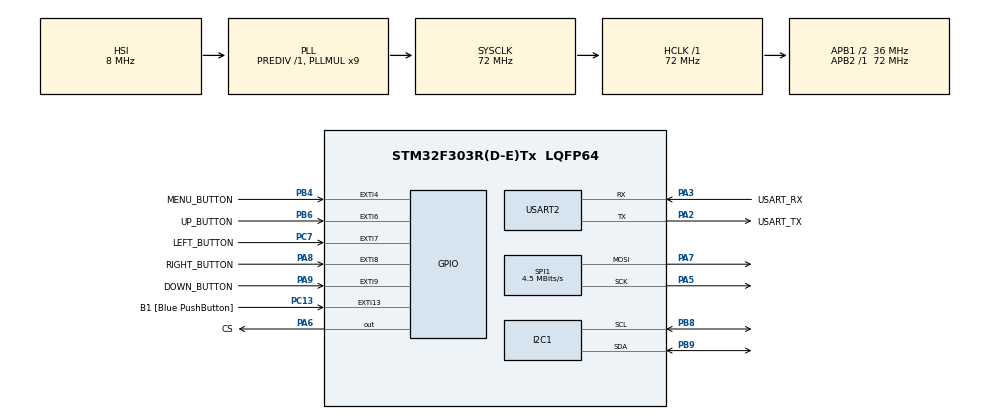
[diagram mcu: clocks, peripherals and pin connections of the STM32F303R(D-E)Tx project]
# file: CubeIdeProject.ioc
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Mcu.Family=STM32F3
Mcu.Name=STM32F303R(D-E)Tx
Mcu.Package=LQFP64
NVIC.EXTI4_IRQn=true\:0\:0\:false\:false\:true\:true\:true\:true
NVIC.EXTI9_5_IRQn=true\:0\:0\:false\:false\:true\:true\:true\:true
NVIC.PriorityGroup=NVIC_PRIORITYGROUP_0
NVIC.TIM1_TRG_COM_TIM17_IRQn=true\:0\:0\:false\:false\:true\:true\:true\:true
NVIC.TIM1_UP_TIM16_IRQn=true\:0\:0\:false\:false\:true\:true\:true\:true
PA13.GPIO_Label=TMS
PA13.Mode=Serial_Wire
PA13.Signal=SYS_JTMS-SWDIO
PA14.GPIO_Label=TCK
PA14.Mode=Serial_Wire
PA14.Signal=SYS_JTCK-SWCLK
PA2.GPIO_Label=USART_TX
PA2.GPIO_Mode=GPIO_MODE_AF_PP
PA2.GPIO_PuPd=GPIO_NOPULL
PA2.GPIO_Speed=GPIO_SPEED_FREQ_LOW
PA2.Mode=Asynchronous
PA2.Signal=USART2_TX
PA3.GPIO_Label=USART_RX
PA3.GPIO_Mode=GPIO_MODE_AF_PP
PA3.GPIO_PuPd=GPIO_NOPULL
PA3.GPIO_Speed=GPIO_SPEED_FREQ_LOW
PA3.Mode=Asynchronous
PA3.Signal=USART2_RX
PA5.Mode=TX_Only_Simplex_Unidirect_Master
PA5.Signal=SPI1_SCK
PA6.GPIO_Label=CS
PA6.Signal=GPIO_Output
PA7.Mode=TX_Only_Simplex_Unidirect_Master
PA7.Signal=SPI1_MOSI
PA8.GPIO_Label=RIGHT_BUTTON
PA8.GPIO_ModeDefaultEXTI=GPIO_MODE_IT_FALLING
PA8.GPIO_PuPd=GPIO_PULLUP
PA8.Signal=GPXTI8
PA9.GPIO_Label=DOWN_BUTTON
PA9.GPIO_ModeDefaultEXTI=GPIO_MODE_IT_FALLING
PA9.GPIO_PuPd=GPIO_PULLUP
PA9.Signal=GPXTI9
PB3.GPIO_Label=SWO
PB3.Signal=SYS_JTDO-TRACESWO
PB4.GPIO_Label=MENU_BUTTON
PB4.GPIO_ModeDefaultEXTI=GPIO_MODE_IT_FALLING
PB4.GPIO_PuPd=GPIO_PULLUP
PB4.Signal=GPXTI4
PB5.Signal=SPI3_MOSI
PB6.GPIO_Label=UP_BUTTON
PB6.GPIO_ModeDefaultEXTI=GPIO_MODE_IT_FALLING
PB6.GPIO_PuPd=GPIO_PULLUP
PB6.Signal=GPXTI6
PB8.Mode=I2C
PB8.Signal=I2C1_SCL
PB9.Mode=I2C
PB9.Signal=I2C1_SDA
PC13.GPIO_Label=B1 [Blue PushButton]
PC13.GPIO_ModeDefaultEXTI=GPIO_MODE_IT_FALLING
PC13.Signal=GPXTI13
PC14-OSC32_IN.Mode=LSE-External-Oscillator
PC14-OSC32_IN.Signal=RCC_OSC32_IN
PC15-OSC32_OUT.Mode=LSE-External-Oscillator
PC15-OSC32_OUT.Signal=RCC_OSC32_OUT
PC7.GPIO_Label=LEFT_BUTTON
PC7.GPIO_ModeDefaultEXTI=GPIO_MODE_IT_FALLING
PC7.GPIO_PuPd=GPIO_PULLUP
PC7.Signal=GPXTI7
PF0-OSC_IN.Mode=HSE-External-Oscillator
PF0-OSC_IN.Signal=RCC_OSC_IN
PF1-OSC_OUT.Mode=HSE-External-Oscillator
PF1-OSC_OUT.Signal=RCC_OSC_OUT
ProjectManager.HeapSize=0x200
ProjectManager.StackSize=0x400
ProjectManager.TargetToolchain=STM32CubeIDE
RCC.AHBFreq_Value=72000000
RCC.APB1CLKDivider=RCC_HCLK_DIV2
RCC.APB1Freq_Value=36000000
RCC.APB1TimFreq_Value=72000000
RCC.APB2Freq_Value=72000000
RCC.APB2TimFreq_Value=72000000
RCC.CortexFreq_Value=72000000
RCC.HCLKFreq_Value=72000000
RCC.HSE_VALUE=8000000
RCC.HSI_VALUE=8000000
RCC.PLLM=8
RCC.PLLMUL=RCC_PLL_MUL9
RCC.PLLN=336
RCC.PLLP=RCC_PLLP_DIV4
RCC.PLLQ=7
RCC.RCC_PLLsource_Clock_Source_FROM_HSE=RCC_HSE_PREDIV_DIV2
RCC.SYSCLKFreq_VALUE=72000000
RCC.SYSCLKSourceVirtual=RCC_SYSCLKSOURCE_PLLCLK
RCC.USBFreq_Value=72000000
SPI1.BaudRatePrescaler=SPI_BAUDRATEPRESCALER_16
SPI1.CalculateBaudRate=4.5 MBits/s
SPI1.DataSize=SPI_DATASIZE_8BIT
SPI1.Direction=SPI_DIRECTION_2LINES
SPI1.FirstBit=SPI_FIRSTBIT_MSB
SPI1.Mode=SPI_MODE_MASTER
SPI1.VirtualType=VM_MASTER
TIM16.Period=10000-1
TIM16.Prescaler=71
TIM17.Period=10000
TIM17.Prescaler=71
USART2.VirtualMode-Asynchronous=VM_ASYNC
VP_TIM16_VS_ClockSourceINT.Mode=Enable_Timer
VP_TIM17_VS_ClockSourceINT.Mode=Enable_Timer
board=NUCLEO-F303RE

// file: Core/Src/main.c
/* USER CODE BEGIN Header */
/**
  ******************************************************************************
  * @file           : main.c
  * @brief          : Main program body
  ******************************************************************************
  * @attention
  *
  * Copyright (c) 2023 STMicroelectronics.
  * All rights reserved.
  *
  * This software is licensed under terms that can be found in the LICENSE file
  * in the root directory of this software component.
  * If no LICENSE file comes with this software, it is provided AS-IS.
  *
  ******************************************************************************
  */
/* USER CODE END Header */
#include "main.h"

I2C_HandleTypeDef hi2c1;

SPI_HandleTypeDef hspi1;

TIM_HandleTypeDef htim16;
TIM_HandleTypeDef htim17;

UART_HandleTypeDef huart2;

/* USER CODE BEGIN PV */
bool menu_button_edge_falling = false;
bool up_button_edge_falling = false;
bool down_button_edge_falling = false;
bool left_button_edge_falling = false;
bool right_button_edge_falling = false;
Vector2D player_input_dpad = {0, 0};
Vector2D player_input_accelerometr = {0, 0};

bool in_menu = true;
bool new_game = true;
MenuScreen menu_screen = Snake;
GameName game_name = Snake;
ControlMethod control_method = Dpad;
int difficulty = 1;
int screen_brightness = 1;
/* USER CODE END PV */

void SystemClock_Config(void);
static void MX_GPIO_Init(void);
static void MX_USART2_UART_Init(void);
static void MX_I2C1_Init(void);
static void MX_SPI1_Init(void);
static void MX_TIM16_Init(void);
static void MX_TIM17_Init(void);

/* USER CODE BEGIN 0 */

void set_screens_register(uint8_t addr, uint8_t data){
	HAL_GPIO_WritePin(GPIOA, CS_Pin, GPIO_PIN_RESET);
	for(int i = 0; i < 4; i++){
		HAL_SPI_Transmit(&hspi1, &addr, 1, HAL_MAX_DELAY);
		HAL_SPI_Transmit(&hspi1, &data, 1, HAL_MAX_DELAY);
	}
	HAL_GPIO_WritePin(GPIOA, CS_Pin, GPIO_PIN_SET);
}

void setup_screen(){
	uint8_t REG_DECODE_MODE = 0x0B;
	uint8_t REG_SCAN_LIMIT = 0x0B;
	uint8_t REG_SHUTDOWN = 0x0C;
	uint8_t REG_DISP_TEST  = 0x0F;

	set_screens_register(REG_SHUTDOWN, 0x01);
	set_screens_register(REG_SCAN_LIMIT, 0x07);
	set_screens_register(REG_DECODE_MODE, 0xFF);
	set_screen_brightness(screen_brightness);

	for(int i = 1; i <= 8; i++){
		set_screens_register(i, 0x00);
	}

	//set_screens_register(REG_DISP_TEST, 0x01);
	//HAL_Delay(100);
	//set_screens_register(REG_DISP_TEST, 0x00);
}

void set_screen_brightness(unsigned brightness){
	uint8_t REG_INTENSITY = 0x0A;
	if(brightness < 16){
		set_screens_register(REG_INTENSITY, brightness-1);
	}
}

void draw_frame(uint16_t * array) {
	uint8_t* array_8_t = ((uint8_t *)array);

	for(int i = 0; i < 8; i++){
		HAL_GPIO_WritePin(GPIOA, CS_Pin, GPIO_PIN_RESET);
		uint8_t num = i + 1;

		HAL_SPI_Transmit(&hspi1, &num, 1, HAL_MAX_DELAY);
		HAL_SPI_Transmit(&hspi1, &array_8_t[2*i+1], 1, HAL_MAX_DELAY);

		HAL_SPI_Transmit(&hspi1, &num, 1, HAL_MAX_DELAY);
		HAL_SPI_Transmit(&hspi1, &array_8_t[2*i], 1, HAL_MAX_DELAY);

		HAL_SPI_Transmit(&hspi1, &num, 1, HAL_MAX_DELAY);
		HAL_SPI_Transmit(&hspi1, &array_8_t[16 + 2*i+1], 1, HAL_MAX_DELAY);

		HAL_SPI_Transmit(&hspi1, &num, 1, HAL_MAX_DELAY);
		HAL_SPI_Transmit(&hspi1, &array_8_t[16 + 2*i], 1, HAL_MAX_DELAY);

		HAL_GPIO_WritePin(GPIOA, CS_Pin, GPIO_PIN_SET);
	}

}

void setup_accelerometr() {
	uint8_t val_power_ctl = 0b00001000;//turn on
	uint8_t val_data_format = 0b00000000;// +-2g

	uint8_t chipid=0;
	HAL_I2C_Mem_Read(&hi2c1, ADXL345_ADDR, 0x00, 1, &chipid, 1, 100);

	HAL_I2C_Mem_Write(&hi2c1, ADXL345_ADDR, REG_POWER_CTL, 1, &val_power_ctl, sizeof(val_power_ctl), HAL_MAX_DELAY);
	HAL_I2C_Mem_Write(&hi2c1, ADXL345_ADDR, REG_DATA_FORMAT, 1, &val_data_format, sizeof(val_data_format), HAL_MAX_DELAY);
}

void adxl_read_values (uint8_t reg, uint8_t* data_rec)
{
   HAL_I2C_Mem_Read (&hi2c1, ADXL345_ADDR, reg, 1, (uint8_t *)data_rec, 6, 100);
}

Vector2D get_accelerometr_input(){
	uint8_t data_rec[6];
	adxl_read_values(0x32, data_rec);
	int16_t x,y,z;
	x = ((data_rec[1]<<8)|data_rec[0]);
	y = ((data_rec[3]<<8)|data_rec[2]);
	z = ((data_rec[5]<<8)|data_rec[4]);
	float xg, yg, zg;
	xg = x * 0.003914;
	yg = y * 0.003914;
	zg = z * 0.003914;

	Vector2D vector = {-xg, yg};
	return vector;
}

void HAL_GPIO_EXTI_Callback(uint16_t GPIO_Pin)
{
	unsigned timer_val = __HAL_TIM_GET_COUNTER(&htim16);
	static bool seeded = false;
	if(!seeded && (GPIO_Pin == UP_BUTTON_Pin || GPIO_Pin == DOWN_BUTTON_Pin || GPIO_Pin == MENU_BUTTON_Pin)){
		srand(timer_val);
		seeded = true;
	}

	switch(GPIO_Pin){
	case MENU_BUTTON_Pin:
		menu_button_edge_falling = true;
		break;
	case UP_BUTTON_Pin:
		up_button_edge_falling = true;
		break;
	case DOWN_BUTTON_Pin:
		down_button_edge_falling = true;
		break;
	case LEFT_BUTTON_Pin:
		left_button_edge_falling = true;
		break;
	case RIGHT_BUTTON_Pin:
		right_button_edge_falling = true;
		break;
	}
}

bool debounce_button(GPIO_TypeDef *port, uint16_t pin, bool *edge_var, int* counter){
	if(*edge_var){
		if(HAL_GPIO_ReadPin(port, pin) == GPIO_PIN_SET){
			*edge_var = false;
			return false;
		}
		if(*counter > 5){
			*counter = 0;
			*edge_var = false;
			return true;
		}
		(*counter)++;
	}
	return false;
}

void check_buttons(){
	static int menu_button_stable_counter = 0;
	static int up_button_stable_counter = 0;
	static int down_button_stable_counter = 0;
	static int left_button_stable_counter = 0;
	static int right_button_stable_counter = 0;

	if(debounce_button(GPIOB, MENU_BUTTON_Pin, &menu_button_edge_falling, &menu_button_stable_counter)){
		in_menu = true;
		switch(menu_screen){
		case SnakeMenu:
			draw_frame(get_snake_menu_screen());
			break;
		case TetrisMenu:
			draw_frame(get_tetris_menu_screen());
			break;
		case SpaceMenu:
			draw_frame(get_space_menu_screen());
			break;
		case Brightness:
			draw_frame(get_brightness_menu_screen(screen_brightness));
			break;
		case Difficulty:
			draw_frame(get_difficulty_menu_screen(difficulty));
			break;
		case ControlMethodMenu:
			draw_frame(get_control_method_menu_screen(control_method));
			break;
		}
	}
	if(debounce_button(GPIOB, UP_BUTTON_Pin, &up_button_edge_falling, &up_button_stable_counter)){
		player_input_dpad.x = 0;
		player_input_dpad.y = 1;
		if(in_menu){
			switch(menu_screen){
			case SnakeMenu:
				in_menu = false;
				game_name = Snake;
				new_game = true;
				player_input_dpad.x = 0;
				player_input_dpad.y = 0;
				break;
			case TetrisMenu:
				in_menu = false;
				game_name = Tetris;
				new_game = true;
				player_input_dpad.x = 0;
				player_input_dpad.y = 0;
				break;
			case SpaceMenu:
				in_menu = false;
				game_name = Space;
				new_game = true;
				player_input_dpad.x = 0;
				player_input_dpad.y = 0;
				break;
			case Brightness:
				if(screen_brightness < 16) screen_brightness++;
				draw_frame(get_brightness_menu_screen(screen_brightness));
				set_screen_brightness(screen_brightness);
				break;
			case Difficulty:
				if(difficulty < 16) difficulty++;
				draw_frame(get_difficulty_menu_screen(difficulty));
				break;
			case ControlMethodMenu:
				control_method = Dpad;
				draw_frame(get_control_method_menu_screen(control_method));
				break;
			}
		}
	}
	if(debounce_button(GPIOA, DOWN_BUTTON_Pin, &down_button_edge_falling, &down_button_stable_counter)){
		player_input_dpad.x = 0;
		player_input_dpad.y = -1;
		if(in_menu){
			switch(menu_screen){
			case SnakeMenu:
				in_menu = false;
				game_name = Snake;
				new_game = true;
				player_input_dpad.x = 0;
				player_input_dpad.y = 0;
				break;
			case TetrisMenu:
				in_menu = false;
				game_name = Tetris;
				new_game = true;
				player_input_dpad.x = 0;
				player_input_dpad.y = 0;
				break;
			case SpaceMenu:
				in_menu = false;
				game_name = Space;
				new_game = true;
				player_input_dpad.x = 0;
				player_input_dpad.y = 0;
				break;
			case Brightness:
				if(screen_brightness > 1) screen_brightness--;
				draw_frame(get_brightness_menu_screen(screen_brightness));
				set_screen_brightness(screen_brightness);
				break;
			case Difficulty:
				if(difficulty > 1) difficulty--;
				draw_frame(get_difficulty_menu_screen(difficulty));
				break;
			case ControlMethodMenu:
				control_method = Accelerometer;
				draw_frame(get_control_method_menu_screen(control_method));
				break;
			}
		}
	}
	if(debounce_button(GPIOC, LEFT_BUTTON_Pin, &left_button_edge_falling, &left_button_stable_counter)){
		player_input_dpad.x = -1;
		player_input_dpad.y = 0;
		if(in_menu){
			switch(menu_screen){
			case SnakeMenu:
				menu_screen = Brightness;
				draw_frame(get_brightness_menu_screen(screen_brightness));
				break;
			case TetrisMenu:
				menu_screen = SnakeMenu;
				draw_frame(get_snake_menu_screen());
				break;
			case SpaceMenu:
				menu_screen = TetrisMenu;
				draw_frame(get_tetris_menu_screen());
				break;
			case ControlMethodMenu:
				menu_screen = SpaceMenu;
				draw_frame(get_space_menu_screen());
				break;
			case Difficulty:
				menu_screen = ControlMethodMenu;
				draw_frame(get_control_method_menu_screen(control_method));
				break;
			case Brightness:
				menu_screen = Difficulty;
				draw_frame(get_difficulty_menu_screen(difficulty));
				break;
			}
		}
	}
	if(debounce_button(GPIOA, RIGHT_BUTTON_Pin, &right_button_edge_falling, &right_button_stable_counter)){
		player_input_dpad.x = 1;
		player_input_dpad.y = 0;
		if(in_menu){
			switch(menu_screen){
			case SnakeMenu:
				menu_screen = TetrisMenu;
				draw_frame(get_tetris_menu_screen());
				break;
			case TetrisMenu:
				menu_screen = SpaceMenu;
				draw_frame(get_space_menu_screen(control_method));
				break;
			case SpaceMenu:
				menu_screen = ControlMethodMenu;
				draw_frame(get_control_method_menu_screen(control_method));
				break;
			case ControlMethodMenu:
				menu_screen = Difficulty;
				draw_frame(get_difficulty_menu_screen(difficulty));
				break;
			case Difficulty:
				menu_screen = Brightness;
				draw_frame(get_brightness_menu_screen(screen_brightness));
				break;
			case Brightness:
				menu_screen = SnakeMenu;
				draw_frame(get_snake_menu_screen());
				break;
			}
		}
	}
}

void play_game_timer_it(){
	static int counter = 0;
	if(!in_menu){
		int divider = 2*(16 - difficulty);
			if(counter < divider){
				counter++;
			}else{
				counter = 0;
				Vector2D player_input;
				Vector2D player_input_accelerometer = get_accelerometr_input();
				if(control_method == Dpad){
					player_input = player_input_dpad;
				}else{
					player_input = player_input_accelerometer;
				}

				uint16_t* frame;
				switch(game_name){
				case Snake:
					frame = snake_get_frame(player_input, control_method, new_game);
					break;
				case Tetris:
					frame = tetris_get_frame(player_input_dpad, player_input_accelerometer, control_method, new_game);
					break;
				case Space:
					frame = space_get_frame(player_input, control_method, new_game);
					break;
				}
				new_game = false;
				player_input_dpad.x = 0;
				player_input_dpad.y = 0;
				draw_frame(frame);
			}
	}
}

void HAL_TIM_PeriodElapsedCallback(TIM_HandleTypeDef *htim)
{
  if (htim == &htim16 && !in_menu)
  {
	  play_game_timer_it();
  }
  if (htim == &htim17 ){
	  check_buttons();
  }
}

/* USER CODE END 0 */

int main(void)
{

  /* MCU Configuration--------------------------------------------------------*/

  /* Reset of all peripherals, Initializes the Flash interface and the Systick. */
  HAL_Init();

  /* Configure the system clock */
  SystemClock_Config();

  /* Initialize all configured peripherals */
  MX_GPIO_Init();
  MX_USART2_UART_Init();
  MX_I2C1_Init();
  MX_SPI1_Init();
  MX_TIM16_Init();
  MX_TIM17_Init();
  /* USER CODE BEGIN 2 */
  setup_screen();
  setup_accelerometr();
  HAL_TIM_Base_Start_IT(&htim16);
  HAL_TIM_Base_Start_IT(&htim17);
  draw_frame(get_snake_menu_screen());

  /* USER CODE END 2 */

  /* Infinite loop */
  while (1)
  {

    /* USER CODE BEGIN 3 */
	  HAL_Delay (1000);
  }
  /* USER CODE END 3 */
}

void SystemClock_Config(void)
{
  RCC_OscInitTypeDef RCC_OscInitStruct = {0};
  RCC_ClkInitTypeDef RCC_ClkInitStruct = {0};
  RCC_PeriphCLKInitTypeDef PeriphClkInit = {0};

  /** Initializes the RCC Oscillators according to the specified parameters
  * in the RCC_OscInitTypeDef structure.
  */
  RCC_OscInitStruct.OscillatorType = RCC_OSCILLATORTYPE_HSI;
  RCC_OscInitStruct.HSIState = RCC_HSI_ON;
  RCC_OscInitStruct.HSICalibrationValue = RCC_HSICALIBRATION_DEFAULT;
  RCC_OscInitStruct.PLL.PLLState = RCC_PLL_ON;
  RCC_OscInitStruct.PLL.PLLSource = RCC_PLLSOURCE_HSI;
  RCC_OscInitStruct.PLL.PLLMUL = RCC_PLL_MUL9;
  RCC_OscInitStruct.PLL.PREDIV = RCC_PREDIV_DIV1;
  if (HAL_RCC_OscConfig(&RCC_OscInitStruct) != HAL_OK)
  {
    Error_Handler();
  }

  /** Initializes the CPU, AHB and APB buses clocks
  */
  RCC_ClkInitStruct.ClockType = RCC_CLOCKTYPE_HCLK|RCC_CLOCKTYPE_SYSCLK
                              |RCC_CLOCKTYPE_PCLK1|RCC_CLOCKTYPE_PCLK2;
  RCC_ClkInitStruct.SYSCLKSource = RCC_SYSCLKSOURCE_PLLCLK;
  RCC_ClkInitStruct.AHBCLKDivider = RCC_SYSCLK_DIV1;
  RCC_ClkInitStruct.APB1CLKDivider = RCC_HCLK_DIV2;
  RCC_ClkInitStruct.APB2CLKDivider = RCC_HCLK_DIV1;

  if (HAL_RCC_ClockConfig(&RCC_ClkInitStruct, FLASH_LATENCY_2) != HAL_OK)
  {
    Error_Handler();
  }
  PeriphClkInit.PeriphClockSelection = RCC_PERIPHCLK_USART2|RCC_PERIPHCLK_I2C1
                              |RCC_PERIPHCLK_TIM16|RCC_PERIPHCLK_TIM17;
  PeriphClkInit.Usart2ClockSelection = RCC_USART2CLKSOURCE_PCLK1;
  PeriphClkInit.I2c1ClockSelection = RCC_I2C1CLKSOURCE_HSI;
  PeriphClkInit.Tim16ClockSelection = RCC_TIM16CLK_HCLK;
  PeriphClkInit.Tim17ClockSelection = RCC_TIM17CLK_HCLK;
  if (HAL_RCCEx_PeriphCLKConfig(&PeriphClkInit) != HAL_OK)
  {
    Error_Handler();
  }
}

static void MX_I2C1_Init(void)
{

  hi2c1.Instance = I2C1;
  hi2c1.Init.Timing = 0x2000090E;
  hi2c1.Init.OwnAddress1 = 0;
  hi2c1.Init.AddressingMode = I2C_ADDRESSINGMODE_7BIT;
  hi2c1.Init.DualAddressMode = I2C_DUALADDRESS_DISABLE;
  hi2c1.Init.OwnAddress2 = 0;
  hi2c1.Init.OwnAddress2Masks = I2C_OA2_NOMASK;
  hi2c1.Init.GeneralCallMode = I2C_GENERALCALL_DISABLE;
  hi2c1.Init.NoStretchMode = I2C_NOSTRETCH_DISABLE;
  if (HAL_I2C_Init(&hi2c1) != HAL_OK)
  {
    Error_Handler();
  }

  /** Configure Analogue filter
  */
  if (HAL_I2CEx_ConfigAnalogFilter(&hi2c1, I2C_ANALOGFILTER_ENABLE) != HAL_OK)
  {
    Error_Handler();
  }

  /** Configure Digital filter
  */
  if (HAL_I2CEx_ConfigDigitalFilter(&hi2c1, 0) != HAL_OK)
  {
    Error_Handler();
  }

}

static void MX_SPI1_Init(void)
{

  /* SPI1 parameter configuration*/
  hspi1.Instance = SPI1;
  hspi1.Init.Mode = SPI_MODE_MASTER;
  hspi1.Init.Direction = SPI_DIRECTION_2LINES;
  hspi1.Init.DataSize = SPI_DATASIZE_8BIT;
  hspi1.Init.CLKPolarity = SPI_POLARITY_LOW;
  hspi1.Init.CLKPhase = SPI_PHASE_1EDGE;
  hspi1.Init.NSS = SPI_NSS_SOFT;
  hspi1.Init.BaudRatePrescaler = SPI_BAUDRATEPRESCALER_16;
  hspi1.Init.FirstBit = SPI_FIRSTBIT_MSB;
  hspi1.Init.TIMode = SPI_TIMODE_DISABLE;
  hspi1.Init.CRCCalculation = SPI_CRCCALCULATION_DISABLE;
  hspi1.Init.CRCPolynomial = 7;
  hspi1.Init.CRCLength = SPI_CRC_LENGTH_DATASIZE;
  hspi1.Init.NSSPMode = SPI_NSS_PULSE_ENABLE;
  if (HAL_SPI_Init(&hspi1) != HAL_OK)
  {
    Error_Handler();
  }

}

static void MX_TIM16_Init(void)
{

  htim16.Instance = TIM16;
  htim16.Init.Prescaler = 71;
  htim16.Init.CounterMode = TIM_COUNTERMODE_UP;
  htim16.Init.Period = 10000-1;
  htim16.Init.ClockDivision = TIM_CLOCKDIVISION_DIV1;
  htim16.Init.RepetitionCounter = 0;
  htim16.Init.AutoReloadPreload = TIM_AUTORELOAD_PRELOAD_DISABLE;
  if (HAL_TIM_Base_Init(&htim16) != HAL_OK)
  {
    Error_Handler();
  }

}

static void MX_TIM17_Init(void)
{

  htim17.Instance = TIM17;
  htim17.Init.Prescaler = 71;
  htim17.Init.CounterMode = TIM_COUNTERMODE_UP;
  htim17.Init.Period = 10000;
  htim17.Init.ClockDivision = TIM_CLOCKDIVISION_DIV1;
  htim17.Init.RepetitionCounter = 0;
  htim17.Init.AutoReloadPreload = TIM_AUTORELOAD_PRELOAD_DISABLE;
  if (HAL_TIM_Base_Init(&htim17) != HAL_OK)
  {
    Error_Handler();
  }

}

static void MX_USART2_UART_Init(void)
{

  huart2.Instance = USART2;
  huart2.Init.BaudRate = 38400;
  huart2.Init.WordLength = UART_WORDLENGTH_8B;
  huart2.Init.StopBits = UART_STOPBITS_1;
  huart2.Init.Parity = UART_PARITY_NONE;
  huart2.Init.Mode = UART_MODE_TX_RX;
  huart2.Init.HwFlowCtl = UART_HWCONTROL_NONE;
  huart2.Init.OverSampling = UART_OVERSAMPLING_16;
  huart2.Init.OneBitSampling = UART_ONE_BIT_SAMPLE_DISABLE;
  huart2.AdvancedInit.AdvFeatureInit = UART_ADVFEATURE_NO_INIT;
  if (HAL_UART_Init(&huart2) != HAL_OK)
  {
    Error_Handler();
  }

}

static void MX_GPIO_Init(void)
{
  GPIO_InitTypeDef GPIO_InitStruct = {0};

  /* GPIO Ports Clock Enable */
  __HAL_RCC_GPIOC_CLK_ENABLE();
  __HAL_RCC_GPIOF_CLK_ENABLE();
  __HAL_RCC_GPIOA_CLK_ENABLE();
  __HAL_RCC_GPIOB_CLK_ENABLE();

  /*Configure GPIO pin Output Level */
  HAL_GPIO_WritePin(CS_GPIO_Port, CS_Pin, GPIO_PIN_RESET);

  /*Configure GPIO pin : B1_Pin */
  GPIO_InitStruct.Pin = B1_Pin;
  GPIO_InitStruct.Mode = GPIO_MODE_IT_FALLING;
  GPIO_InitStruct.Pull = GPIO_NOPULL;
  HAL_GPIO_Init(B1_GPIO_Port, &GPIO_InitStruct);

  /*Configure GPIO pin : CS_Pin */
  GPIO_InitStruct.Pin = CS_Pin;
  GPIO_InitStruct.Mode = GPIO_MODE_OUTPUT_PP;
  GPIO_InitStruct.Pull = GPIO_NOPULL;
  GPIO_InitStruct.Speed = GPIO_SPEED_FREQ_LOW;
  HAL_GPIO_Init(CS_GPIO_Port, &GPIO_InitStruct);

  /*Configure GPIO pin : LEFT_BUTTON_Pin */
  GPIO_InitStruct.Pin = LEFT_BUTTON_Pin;
  GPIO_InitStruct.Mode = GPIO_MODE_IT_FALLING;
  GPIO_InitStruct.Pull = GPIO_PULLUP;
  HAL_GPIO_Init(LEFT_BUTTON_GPIO_Port, &GPIO_InitStruct);

  /*Configure GPIO pins : RIGHT_BUTTON_Pin DOWN_BUTTON_Pin */
  GPIO_InitStruct.Pin = RIGHT_BUTTON_Pin|DOWN_BUTTON_Pin;
  GPIO_InitStruct.Mode = GPIO_MODE_IT_FALLING;
  GPIO_InitStruct.Pull = GPIO_PULLUP;
  HAL_GPIO_Init(GPIOA, &GPIO_InitStruct);

  /*Configure GPIO pins : MENU_BUTTON_Pin UP_BUTTON_Pin */
  GPIO_InitStruct.Pin = MENU_BUTTON_Pin|UP_BUTTON_Pin;
  GPIO_InitStruct.Mode = GPIO_MODE_IT_FALLING;
  GPIO_InitStruct.Pull = GPIO_PULLUP;
  HAL_GPIO_Init(GPIOB, &GPIO_InitStruct);

  /*Configure GPIO pin : PB5 */
  GPIO_InitStruct.Pin = GPIO_PIN_5;
  GPIO_InitStruct.Mode = GPIO_MODE_AF_PP;
  GPIO_InitStruct.Pull = GPIO_NOPULL;
  GPIO_InitStruct.Speed = GPIO_SPEED_FREQ_HIGH;
  GPIO_InitStruct.Alternate = GPIO_AF6_SPI3;
  HAL_GPIO_Init(GPIOB, &GPIO_InitStruct);

  /* EXTI interrupt init*/
  HAL_NVIC_SetPriority(EXTI4_IRQn, 0, 0);
  HAL_NVIC_EnableIRQ(EXTI4_IRQn);

  HAL_NVIC_SetPriority(EXTI9_5_IRQn, 0, 0);
  HAL_NVIC_EnableIRQ(EXTI9_5_IRQn);

}

void Error_Handler(void)
{
  __disable_irq();
  while (1)
  {
  }
}
